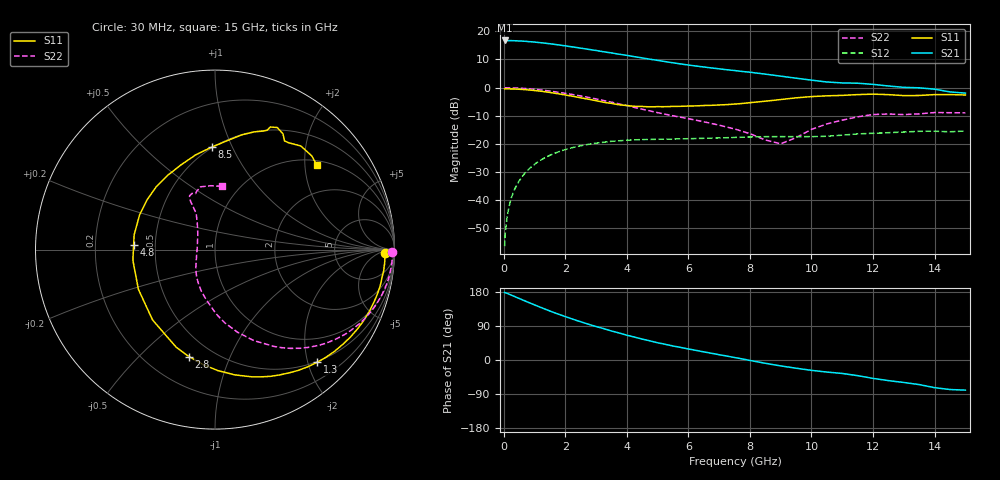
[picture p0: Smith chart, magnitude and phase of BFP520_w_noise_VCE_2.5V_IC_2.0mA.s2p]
! Infineon Technologies  Discrete & RF Semiconductors
! BFP520
! VCE =  2.5 V,  IC =  2.0 mA
! Common Emitter S-Parameters:  Oct 2015
# GHz  S  MA  R  50
!  f  S11  S21  S12  S22
! GHz  MAG  ANG  MAG  ANG  MAG  ANG  MAG  ANG
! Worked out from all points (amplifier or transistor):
!   109 points, 30 MHz to 15 GHz, reference 50 ohm
!   highest |S21| = 16.8 dB at 30 MHz (marker M1)
!   |S21| within 3 dB of that: start of sweep to 2.658 GHz
!   unconditionally stable (mu >= 1): 5.087 GHz to end of sweep
!   at 450 MHz: K = 0.09, MSG = 25.4 dB, |S12| = -34.2 dB
!   at 4 GHz: K = 0.75, MSG = 15.1 dB, |S12| = -18.7 dB
!   at 15 GHz: K = 1.63, MAG = 2.1 dB, |S12| = -15.5 dB
!   lowest NFmin = 0.94 dB at 900 MHz
!   S11 on the Smith chart (normalised r, x): 30 MHz: 32, -11; 1.3 GHz: 0.49, -2.17; 2.8 GHz: 0.37, -0.72; 4.8 GHz: 0.38, +0.02; 8.5 GHz: 0.49, +0.84; 15 GHz: 1.11, +2.29
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0.03  0.9466 -1.1  6.897 178.5  0.0015 57.0  0.989 -0.7
0.05  0.9484 -1.7  6.841 177.4  0.0025 68.1  0.9894 -1.1
0.12  0.948 -4.4  6.86 175.6  0.0053 78.7  0.9893 -2.7
0.35  0.9416 -12.8  6.819 167.7  0.0152 80.6  0.9828 -7.9
0.8  0.9081 -29.3  6.588 152.1  0.0346 73.2  0.9518 -18.0
1.3  0.8477 -47.8  6.21 135.7  0.0548 63.5  0.8935 -28.8
1.6  0.8014 -59.0  5.93 126.2  0.0657 57.6  0.8503 -34.9
1.9  0.7548 -69.9  5.629 117.5  0.0756 52.0  0.8048 -40.6
2.2  0.7063 -81.1  5.329 109.0  0.0843 46.7  0.7573 -45.9
2.6  0.6433 -96.1  4.94 98.3  0.0942 39.9  0.6928 -52.6
2.8  0.6133 -103.7  4.751 93.2  0.0985 36.7  0.6605 -55.8
3.5  0.5239 -131.6  4.143 76.5  0.1104 26.2  0.5501 -67.0
4  0.4808 -152.6  3.746 65.4  0.1157 19.5  0.4762 -74.9
4.8  0.454 176.7  3.17 49.5  0.1194 10.8  0.3785 -86.2
5.1  0.4565 166.7  2.987 43.9  0.1202 8.1  0.3486 -90.0
6.2  0.4713 139.4  2.437 26.1  0.1237 0.5  0.2653 -103.3
7.6  0.513 109.8  1.979 5.1  0.1298 -7.9  0.1765 -125.9
8.5  0.572 91.7  1.734 -8.7  0.1336 -13.6  0.1165 -153.2
9  0.6118 83.4  1.596 -15.6  0.1342 -16.9  0.0998 171.9
10.5  0.7129 67.9  1.257 -31.8  0.1358 -22.1  0.2251 117.7
13  0.7187 57.4  1.008 -59.3  0.1616 -36.8  0.3301 109.1
15  0.7375 39.9  0.796 -79.5  0.1685 -50.1  0.3545 83.5
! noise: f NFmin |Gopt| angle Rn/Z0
0.45  0.96  0.67  4  0.42
0.9  0.94  0.62  13  0.44
1.9  1.27  0.51  28  0.36
2.4  1.35  0.47  39  0.35
3.5  1.32  0.46  64  0.31
